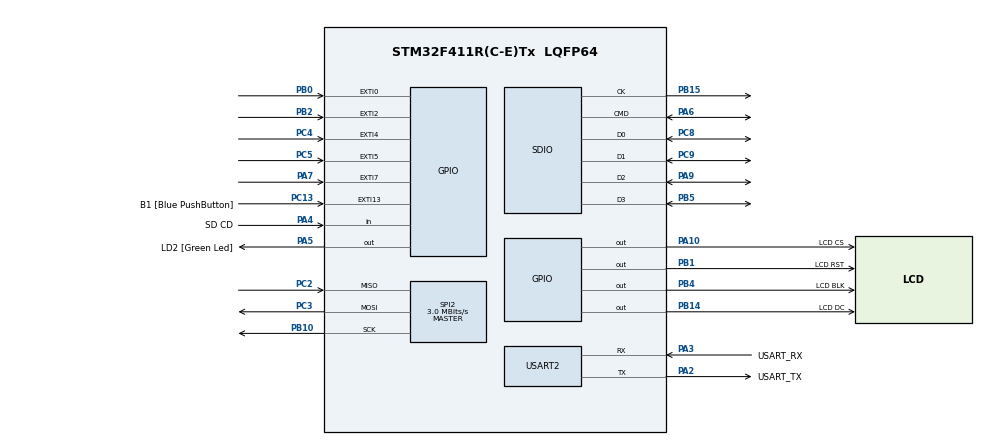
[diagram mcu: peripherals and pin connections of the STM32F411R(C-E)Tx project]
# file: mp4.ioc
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Dma.Request0=SDIO_RX
Dma.Request1=SDIO_TX
Dma.Request2=SPI2_TX
Dma.SDIO_RX.0.Direction=DMA_PERIPH_TO_MEMORY
Dma.SDIO_RX.0.FIFOMode=DMA_FIFOMODE_ENABLE
Dma.SDIO_RX.0.FIFOThreshold=DMA_FIFO_THRESHOLD_FULL
Dma.SDIO_RX.0.Instance=DMA2_Stream3
Dma.SDIO_RX.0.MemBurst=DMA_MBURST_INC4
Dma.SDIO_RX.0.MemDataAlignment=DMA_MDATAALIGN_WORD
Dma.SDIO_RX.0.MemInc=DMA_MINC_ENABLE
Dma.SDIO_RX.0.Mode=DMA_PFCTRL
Dma.SDIO_RX.0.PeriphBurst=DMA_PBURST_INC4
Dma.SDIO_RX.0.PeriphDataAlignment=DMA_PDATAALIGN_WORD
Dma.SDIO_RX.0.PeriphInc=DMA_PINC_DISABLE
Dma.SDIO_RX.0.Priority=DMA_PRIORITY_LOW
Dma.SDIO_TX.1.Direction=DMA_MEMORY_TO_PERIPH
Dma.SDIO_TX.1.FIFOMode=DMA_FIFOMODE_ENABLE
Dma.SDIO_TX.1.FIFOThreshold=DMA_FIFO_THRESHOLD_FULL
Dma.SDIO_TX.1.Instance=DMA2_Stream6
Dma.SDIO_TX.1.MemBurst=DMA_MBURST_INC4
Dma.SDIO_TX.1.MemDataAlignment=DMA_MDATAALIGN_WORD
Dma.SDIO_TX.1.MemInc=DMA_MINC_ENABLE
Dma.SDIO_TX.1.Mode=DMA_PFCTRL
Dma.SDIO_TX.1.PeriphBurst=DMA_PBURST_INC4
Dma.SDIO_TX.1.PeriphDataAlignment=DMA_PDATAALIGN_WORD
Dma.SDIO_TX.1.PeriphInc=DMA_PINC_DISABLE
Dma.SDIO_TX.1.Priority=DMA_PRIORITY_LOW
Dma.SPI2_TX.2.Direction=DMA_MEMORY_TO_PERIPH
Dma.SPI2_TX.2.FIFOMode=DMA_FIFOMODE_DISABLE
Dma.SPI2_TX.2.Instance=DMA1_Stream4
Dma.SPI2_TX.2.MemDataAlignment=DMA_MDATAALIGN_BYTE
Dma.SPI2_TX.2.MemInc=DMA_MINC_ENABLE
Dma.SPI2_TX.2.Mode=DMA_NORMAL
Dma.SPI2_TX.2.PeriphDataAlignment=DMA_PDATAALIGN_BYTE
Dma.SPI2_TX.2.PeriphInc=DMA_PINC_DISABLE
Dma.SPI2_TX.2.Priority=DMA_PRIORITY_HIGH
FATFS.BSP.number=1
FATFS.USE_DMA_CODE_SD=1
FATFS._CODE_PAGE=936
FATFS._FS_EXFAT=0
FATFS._FS_LOCK=4
FATFS._USE_LFN=3
FATFS0.BSP.STBoard=false
FATFS0.BSP.api=Unknown
FATFS0.BSP.instance=PA4
FATFS0.BSP.ip=GPIO
FATFS0.BSP.mode=Input
FATFS0.BSP.name=Detect_SDIO
FATFS0.BSP.solution=PA4
Mcu.Family=STM32F4
Mcu.Name=STM32F411R(C-E)Tx
Mcu.Package=LQFP64
NVIC.DMA1_Stream4_IRQn=true\:0\:1\:false\:false\:true\:false\:true\:true
NVIC.DMA2_Stream3_IRQn=true\:0\:3\:false\:false\:true\:false\:true\:true
NVIC.DMA2_Stream6_IRQn=true\:0\:3\:false\:false\:true\:false\:true\:true
NVIC.EXTI0_IRQn=true\:0\:1\:false\:false\:true\:true\:true\:true
NVIC.EXTI15_10_IRQn=true\:0\:1\:false\:false\:true\:true\:true\:true
NVIC.EXTI2_IRQn=true\:0\:1\:false\:false\:true\:true\:true\:true
NVIC.EXTI4_IRQn=true\:0\:1\:false\:false\:true\:true\:true\:true
NVIC.EXTI9_5_IRQn=true\:0\:1\:false\:false\:true\:true\:true\:true
NVIC.PriorityGroup=NVIC_PRIORITYGROUP_0
NVIC.SDIO_IRQn=true\:0\:2\:false\:false\:true\:true\:true\:true
NVIC.SPI2_IRQn=true\:0\:3\:false\:false\:true\:true\:true\:true
NVIC.TIM1_UP_TIM10_IRQn=true\:0\:1\:false\:false\:true\:true\:true\:true
NVIC.USART2_IRQn=true\:0\:1\:false\:false\:true\:true\:true\:true
PA10.GPIO_Label=LCD CS
PA10.Signal=GPIO_Output
PA13.GPIO_Label=TMS
PA13.Mode=Serial_Wire
PA13.Signal=SYS_JTMS-SWDIO
PA14.GPIO_Label=TCK
PA14.Mode=Serial_Wire
PA14.Signal=SYS_JTCK-SWCLK
PA2.GPIO_Label=USART_TX
PA2.Mode=Asynchronous
PA2.Signal=USART2_TX
PA3.GPIO_Label=USART_RX
PA3.Mode=Asynchronous
PA3.Signal=USART2_RX
PA4.GPIO_Label=SD CD
PA4.Signal=GPIO_Input
PA5.GPIO_Label=LD2 [Green Led]
PA5.Signal=GPIO_Output
PA6.GPIO_PuPd=GPIO_PULLUP
PA6.Mode=SD_4_bits_Wide_bus
PA6.Signal=SDIO_CMD
PA7.GPIO_ModeDefaultEXTI=GPIO_MODE_IT_RISING_FALLING
PA7.GPIO_PuPd=GPIO_PULLUP
PA7.Signal=GPXTI7
PA9.GPIO_PuPd=GPIO_PULLUP
PA9.Mode=SD_4_bits_Wide_bus
PA9.Signal=SDIO_D2
PB0.GPIO_ModeDefaultEXTI=GPIO_MODE_IT_RISING_FALLING
PB0.GPIO_PuPd=GPIO_PULLUP
PB0.Signal=GPXTI0
PB1.GPIO_Label=LCD RST
PB1.Signal=GPIO_Output
PB10.Mode=Full_Duplex_Master
PB10.Signal=SPI2_SCK
PB14.GPIO_Label=LCD DC
PB14.Signal=GPIO_Output
PB15.Mode=SD_4_bits_Wide_bus
PB15.Signal=SDIO_CK
PB2.GPIO_ModeDefaultEXTI=GPIO_MODE_IT_RISING_FALLING
PB2.GPIO_PuPd=GPIO_PULLUP
PB2.Signal=GPXTI2
PB3.GPIO_Label=SWO
PB3.Signal=SYS_JTDO-SWO
PB4.GPIO_Label=LCD BLK
PB4.Signal=GPIO_Output
PB5.GPIO_PuPd=GPIO_PULLUP
PB5.Mode=SD_4_bits_Wide_bus
PB5.Signal=SDIO_D3
PC13-ANTI_TAMP.GPIO_Label=B1 [Blue PushButton]
PC13-ANTI_TAMP.GPIO_ModeDefaultEXTI=GPIO_MODE_IT_RISING_FALLING
PC13-ANTI_TAMP.GPIO_PuPd=GPIO_PULLUP
PC13-ANTI_TAMP.Signal=GPXTI13
PC14-OSC32_IN.Mode=LSE-External-Oscillator
PC14-OSC32_IN.Signal=RCC_OSC32_IN
PC15-OSC32_OUT.Mode=LSE-External-Oscillator
PC15-OSC32_OUT.Signal=RCC_OSC32_OUT
PC2.Mode=Full_Duplex_Master
PC2.Signal=SPI2_MISO
PC3.Mode=Full_Duplex_Master
PC3.Signal=SPI2_MOSI
PC4.GPIO_ModeDefaultEXTI=GPIO_MODE_IT_RISING_FALLING
PC4.GPIO_PuPd=GPIO_PULLUP
PC4.Signal=GPXTI4
PC5.GPIO_ModeDefaultEXTI=GPIO_MODE_IT_RISING_FALLING
PC5.GPIO_PuPd=GPIO_PULLUP
PC5.Signal=GPXTI5
PC8.GPIO_PuPd=GPIO_PULLUP
PC8.Mode=SD_4_bits_Wide_bus
PC8.Signal=SDIO_D0
PC9.GPIO_PuPd=GPIO_PULLUP
PC9.Mode=SD_4_bits_Wide_bus
PC9.Signal=SDIO_D1
PH0\ -\ OSC_IN.Mode=HSE-External-Clock-Source
PH0\ -\ OSC_IN.Signal=RCC_OSC_IN
PH1\ -\ OSC_OUT.Mode=HSE-External-Clock-Source
PH1\ -\ OSC_OUT.Signal=RCC_OSC_OUT
ProjectManager.HeapSize=0x16000
ProjectManager.StackSize=0x2000
ProjectManager.TargetToolchain=CMake
RCC.48MHZClocksFreq_Value=48000000
RCC.AHBFreq_Value=96000000
RCC.APB1CLKDivider=RCC_HCLK_DIV2
RCC.APB1Freq_Value=48000000
RCC.APB1TimFreq_Value=96000000
RCC.APB2Freq_Value=96000000
RCC.APB2TimFreq_Value=96000000
RCC.CortexFreq_Value=96000000
RCC.FLatency-AdvancedSettings=FLASH_LATENCY_3
RCC.HCLKFreq_Value=96000000
RCC.HSE_VALUE=8000000
RCC.HSI_VALUE=16000000
RCC.PLLM=8
RCC.PLLN=96
RCC.SYSCLKFreq_VALUE=96000000
RCC.SYSCLKSource=RCC_SYSCLKSOURCE_PLLCLK
RCC.VCOOutputFreq_Value=192000000
RTC.SynchPrediv=249
SPI2.BaudRatePrescaler=SPI_BAUDRATEPRESCALER_16
SPI2.CLKPhase=SPI_PHASE_2EDGE
SPI2.CLKPolarity=SPI_POLARITY_HIGH
SPI2.CalculateBaudRate=3.0 MBits/s
SPI2.Direction=SPI_DIRECTION_2LINES
SPI2.Mode=SPI_MODE_MASTER
SPI2.VirtualType=VM_MASTER
TIM10.Period=10000-1
TIM10.Prescaler=96-1
USART2.VirtualMode=VM_ASYNC
VP_FATFS_VS_SDIO.Mode=SDIO
VP_RTC_VS_RTC_Activate.Mode=RTC_Enabled
VP_RTC_VS_RTC_Calendar.Mode=RTC_Calendar
VP_TIM10_VS_ClockSourceINT.Mode=Enable_Timer
board=NUCLEO-F411RE

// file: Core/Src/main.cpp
/* USER CODE BEGIN Header */
/**
  ******************************************************************************
  * @file           : main.c
  * @brief          : Main program body
  ******************************************************************************
  * @attention
  *
  * Copyright (c) 2026 STMicroelectronics.
  * All rights reserved.
  *
  * This software is licensed under terms that can be found in the LICENSE file
  * in the root directory of this software component.
  * If no LICENSE file comes with this software, it is provided AS-IS.
  *
  ******************************************************************************
  */
/* USER CODE END Header */
#include "main.h"
#include "dma.h"
#include "fatfs.h"
#include "rtc.h"
#include "sdio.h"
#include "spi.h"
#include "usart.h"
#include "gpio.h"
#include "tim.h"

/* USER CODE BEGIN Includes */
#include <cstdio>

#include "canvas.h"
#include "fs.h"
#include "st7735.h"
#include "unicode_render.h"
#include "pic_types.h"
#include "unicode_font_types.h"
#include "video_types.h"
#include "easy_menu.h"
/* USER CODE END Includes */

/* USER CODE BEGIN PV */
UnicodeFont global_font;
Canvas global_canvas(160, 128);

easy_menu::Render render = {
    [](const char* str, uint16_t x, uint16_t y, bool color_inversion, void* data) {
        auto canvas = static_cast<Canvas*>(data);
        if (!color_inversion) canvas->WriteUnicodeString(x, y, str, &global_font, ST7735_WHITE, ST7735_BLACK);
        else canvas->WriteUnicodeString(x, y, str, &global_font, ST7735_BLACK, ST7735_WHITE);
    },
    [](uint16_t x, uint16_t y, uint16_t w, uint16_t h, void* data) {
        static_cast<Canvas*>(data)->FillRectangle(x, y, w, h, ST7735_WHITE);
    },
    [](uint16_t x, uint16_t y, uint16_t w, uint16_t h, void* data) {
        static_cast<Canvas*>(data)->FillRectangle(x, y, w, h, ST7735_BLACK);
    },
    [](const char* str) {
        uint16_t w = UnicodeStringUTF8Length(str, &global_font);
        uint16_t h = global_font.GetDefaultHeight();
        return std::pair{w, h};
    },
    [](uint16_t x, uint16_t y, void* data) {
        static_cast<Canvas*>(data)->DrawCanvasDMA(x, y);
    },
    [](uint16_t x, uint16_t y, uint16_t w, uint16_t h, uint16_t x0, uint16_t y0, void* data) {
        static_cast<Canvas*>(data)->Copy(x, y, w, h, x0, y0);
    },
    HAL_GetTick,
    &global_canvas,
};

volatile easy_menu::InputEvent input = {false, false, false, false, false};
volatile bool return_home;

class ButtonStateMachine;

using ButtonCallback = void(*)(const volatile ButtonStateMachine& button);

class ButtonStateMachine {
public:
    enum State {
        IDLE,
        DEBOUNCE_PRESS,
        PRESSED,
        DEBOUNCE_RELEASE
    };

    volatile State state = IDLE;
    volatile uint8_t debounce_count = 0;
    volatile bool *click_down, *click_up;
    GPIO_TypeDef* GPIO_PORT;
    uint16_t GPIO_PIN;
    ButtonCallback click_callback;

    static constexpr uint8_t DEBOUNCE_TICKS = 2;

    void onInterrupt(bool pin_state) volatile {
        switch (state) {
        case IDLE:
            if (!pin_state) {
                state = DEBOUNCE_PRESS;
                debounce_count = 0;
            }
            break;
        case PRESSED:
            if (pin_state) {
                state = DEBOUNCE_RELEASE;
                debounce_count = 0;
            }
            break;
        default:
            break;
        }
    }

    void onTimerTick() volatile {
        switch (state) {
        case DEBOUNCE_PRESS:
            debounce_count++;
            if (debounce_count >= DEBOUNCE_TICKS) {
                bool pin_state = HAL_GPIO_ReadPin(GPIO_PORT, GPIO_PIN) == GPIO_PIN_SET;
                if (!pin_state) {
                    if (click_down) *click_down = true;
                    if (click_callback) click_callback(*this);
                    state = PRESSED;
                }
                else {
                    state = IDLE;
                }
            }
            break;
        case DEBOUNCE_RELEASE:
            debounce_count++;
            if (debounce_count >= DEBOUNCE_TICKS) {
                bool pin_state = HAL_GPIO_ReadPin(GPIO_PORT, GPIO_PIN) == GPIO_PIN_SET;
                if (pin_state) {
                    if (click_up) *click_up = true;
                    if (click_callback) click_callback(*this);
                    state = IDLE;
                }
                else {
                    state = PRESSED;
                }
            }
            break;
        default:
            break;
        }
    }

    ButtonStateMachine(GPIO_TypeDef* GPIO_PORT, uint16_t GPIO_PIN, volatile bool* click_down = nullptr,
                       volatile bool* click_up = nullptr,
                       ButtonCallback click_callback = nullptr) : click_down(click_down), click_up(click_up),
                                                                  GPIO_PORT(GPIO_PORT), GPIO_PIN(GPIO_PIN),
                                                                  click_callback(click_callback) {
    }
};

class ButtonManager {
    static volatile ButtonStateMachine* buttons_[8];
    static volatile size_t count_;

public:
    static void registerButton(volatile ButtonStateMachine* btn) {
        if (count_ < 8) {
            buttons_[count_++] = btn;
        }
    }

    static void onTimerTick() {
        for (size_t i = 0; i < count_; i++) {
            buttons_[i]->onTimerTick();
        }
    }
};

volatile ButtonStateMachine* ButtonManager::buttons_[8] = {nullptr};
volatile size_t ButtonManager::count_ = 0;
bool redraw = false;

volatile ButtonStateMachine b1_state(GPIOC, GPIO_PIN_13, &input.enter, nullptr,
                                     [](const volatile ButtonStateMachine& button) {
                                         printf("click_down: %s\r\n",
                                                *button.click_down ? "true" : "false");
                                     });
volatile ButtonStateMachine b_up_state(GPIOA, GPIO_PIN_7, &input.up, nullptr,
                                       [](const volatile ButtonStateMachine& button) {
                                           printf("up called up: %s\r\n", *button.click_down ? "true" : "false");
                                       });
volatile ButtonStateMachine b_down_state(GPIOC, GPIO_PIN_4, &input.down, nullptr,
                                         [](const volatile ButtonStateMachine& button) {
                                             printf("down called up: %s\r\n", *button.click_down ? "true" : "false");
                                         });
volatile ButtonStateMachine b_break_out_state(GPIOC, GPIO_PIN_5, &input.break_out, nullptr,
                                              [](const volatile ButtonStateMachine& button) {
                                                  printf("break_out called up: %s\r\n",
                                                         *button.click_down ? "true" : "false");
                                              });
volatile ButtonStateMachine b_return_home_state(GPIOB, GPIO_PIN_0, &return_home, nullptr,
                                                [](const volatile ButtonStateMachine& button) {
                                                    printf("return_home called up: %s\r\n",
                                                           *button.click_down ? "true" : "false");
                                                });
volatile ButtonStateMachine b_shift_state(GPIOB, GPIO_PIN_2, &input.shift, nullptr,
                                          [](const volatile ButtonStateMachine& button) {
                                              printf("shift called up: %s\r\n",
                                                     *button.click_down ? "true" : "false");
                                          });

struct ButtonRegistrar {
    ButtonRegistrar() {
        ButtonManager::registerButton(&b1_state);
        ButtonManager::registerButton(&b_up_state);
        ButtonManager::registerButton(&b_down_state);
        ButtonManager::registerButton(&b_break_out_state);
        ButtonManager::registerButton(&b_return_home_state);
        ButtonManager::registerButton(&b_shift_state);
    }
} button_registrar;

/* USER CODE END PV */

void SystemClock_Config();
void directory_enum_test();
void sd_speed_test(UnicodeFont& font);
void spi_speed_test();
void pic_display_test(UnicodeFont& font);
void video_play_test();
void video_test2();
void menu_test();
void canvas_test(UnicodeFont& font);
void file_callback(const easy_menu::MenuCell* sender, easy_menu::ClickType type, void* user_data);
void shift_callback(const easy_menu::MenuCell* sender, void* user_data);
void open_file(const char* gbk_path);
void file_manager(const char* current_path = "/", uint32_t start_index = 0);

/* USER CODE BEGIN 0 */

struct MemNode {
    MemNode* next;
    bool data[28];
};

uint32_t measure_free_heap(bool print = true) {
    MemNode* head = nullptr;
    MemNode* current = nullptr;
    uint32_t total_allocated = 0;
    uint32_t node_count = 0;

    while (true) {
        auto* node = static_cast<MemNode*>(malloc(sizeof(MemNode)));
        if (!node) {
            break;
        }
        node->next = nullptr;
        total_allocated += sizeof(MemNode);
        node_count++;

        if (head == nullptr) {
            head = node;
            current = node;
        }
        else {
            current->next = node;
            current = node;
        }
    }

    current = head;
    while (current) {
        MemNode* next = current->next;
        free(current);
        current = next;
    }

    if (print) printf("堆内存检测: 申请 %lu 个节点, 共 %lu 字节\r\n", node_count, total_allocated);
    return total_allocated;
}

/* USER CODE END 0 */

int main() {

    /* MCU Configuration--------------------------------------------------------*/

    /* Reset of all peripherals, Initializes the Flash interface and the Systick. */
    HAL_Init();

    /* USER CODE BEGIN Init */
    __HAL_RCC_PWR_CLK_ENABLE();
    HAL_PWR_EnableBkUpAccess();
    __HAL_RCC_LSI_ENABLE();
    uint32_t tickstart = HAL_GetTick();
    while (__HAL_RCC_GET_FLAG(RCC_FLAG_LSIRDY) == RESET) {
        if ((HAL_GetTick() - tickstart) > LSI_TIMEOUT_VALUE) {
            // 如果 LSI 超时都没起来，说明芯片 LSI 坏了或者电路问题
            Error_Handler();
        }
    }
    /* USER CODE END Init */

    /* USER CODE BEGIN SysInit */
    SystemClock_Config();
    printf("System clock configured!\r\n");
    /* USER CODE END SysInit */

    /* Initialize all configured peripherals */
    MX_GPIO_Init();
    MX_DMA_Init();
    MX_TIM10_Init();
    MX_RTC_Init();
    MX_SDIO_SD_Init();
    MX_SPI2_Init();
    MX_USART2_UART_Init();
    MX_FATFS_Init();
    /* USER CODE BEGIN 2 */
    HAL_TIM_Base_Start_IT(&htim10);
    HAL_SD_CardInfoTypeDef cardInfo;
    if (HAL_SD_GetCardInfo(&hsd, &cardInfo) == HAL_OK) {
        printf("Card Type: %lu (", cardInfo.CardType);
        switch (cardInfo.CardType) {
        case 0: printf("SDSC)\r\n");
            break;
        case 1: printf("SDHC)\r\n");
            break;
        case 2: printf("SDXC)\r\n");
            break;
        default: printf("Unknown)\r\n");
            break;
        }
        const uint64_t capacity_bytes = static_cast<uint64_t>(cardInfo.LogBlockNbr) * cardInfo.LogBlockSize;
        const uint32_t capacity_mb = capacity_bytes / (1024 * 1024);

        printf("SD Card: %lu MB\r\n", capacity_mb);
    }
    else {
        printf("Failed to get SD card info!\r\n");
    }

    FRESULT res = f_mount(&SDFatFS, SDPath, 1);
    if (res == FR_OK) {
        printf("SD Card mounted successfully!\r\n");
    }
    else {
        printf("Failed to mount SD card: %d\r\n", res);
    }

    // directory_enum_test();

    ST7735_Init();
    ST7735_FillScreenFast(ST7735_BLACK);
    HAL_GPIO_WritePin(LCD_BLK_GPIO_Port, LCD_BLK_Pin, GPIO_PIN_SET);
    uint8_t offset = 0;
    ST7735_WriteString(0, offset, "Hello World!", Font_7x10, ST7735_GREEN, ST7735_YELLOW);
    ST7735_WriteStringNoBg(0, offset += 11, "Hello World!", Font_7x10, ST7735_GREEN);

    // 大字体，超过了1000字符缓存限制，不会分配索引缓存
    auto& font = global_font;
    if (font.Load("/font/WenQuanDianZhenZhengHei-1_12x12.ufnt")) {
        printf("字体large加载成功！\r\n");
        ST7735_Select();
        WriteUnicodeStringUTF8DMA(0, offset += font.GetDefaultHeight() + 1, "你好，世界！", &font, ST7735_GREEN,
                                  ST7735_YELLOW);
        WriteUnicodeStringUTF8NoBgDMA(0, offset += font.GetDefaultHeight() + 1, "你好，世界！", &font, ST7735_GREEN);
    }
    else {
        printf("字体large加载失败！\r\n");
    }

    measure_free_heap();
    HAL_Delay(3000);

    // sd_speed_test(font);
    // spi_speed_test();
    // pic_display_test(font);
    // measure_free_heap();
    // video_play_test();
    // video_test2();
    // measure_free_heap();
    // canvas_test(global_font);
    // measure_free_heap();
    // menu_test();
    // measure_free_heap();
    ST7735_FillScreenFast(ST7735_BLACK);
    /* USER CODE END 2 */

    /* Infinite loop */
    /* USER CODE BEGIN WHILE */
    easy_menu::StaticMenu root(2, "MP4播放器", 0, 0, 160, 128);
    root.add_menu("设置", [](const easy_menu::MenuCell* sender, easy_menu::ClickType type, void* userdata) {
        ST7735_FillScreenFast(ST7735_BLACK);
        WriteUnicodeStringUTF8DMA(0, 0, "暂不支持此功能", &global_font, ST7735_GREEN, ST7735_BLACK);
        while (!input.break_out and !return_home);
        input.break_out = false;
    });
    root.add_menu("文件浏览", [](const easy_menu::MenuCell* sender, easy_menu::ClickType type, void* userdata) {
        file_manager();
    });
    easy_menu::MenuState state;
    while (true) {
        /* USER CODE END WHILE */
        easy_menu::flush_menu(root, input, render, state);
        if (redraw) {
            root.force_redraw();
            redraw = false;
            printf("redraw\r\n");
        }
        if (return_home) {
            return_home = false;
            root.set_to_home();
        }
        /* USER CODE BEGIN 3 */
        HAL_GPIO_TogglePin(GPIOA, GPIO_PIN_5);
    }
    /* USER CODE END 3 */
}

void SystemClock_Config() {
    RCC_OscInitTypeDef RCC_OscInitStruct = {0};
    RCC_ClkInitTypeDef RCC_ClkInitStruct = {0};

    /** Configure the main internal regulator output voltage
    */
    __HAL_RCC_PWR_CLK_ENABLE();
    __HAL_PWR_VOLTAGESCALING_CONFIG(PWR_REGULATOR_VOLTAGE_SCALE1);

    /** Initializes the RCC Oscillators according to the specified parameters
    * in the RCC_OscInitTypeDef structure.
    */
    RCC_OscInitStruct.OscillatorType = RCC_OSCILLATORTYPE_HSI | RCC_OSCILLATORTYPE_LSI;
    RCC_OscInitStruct.HSIState = RCC_HSI_ON;
    RCC_OscInitStruct.HSICalibrationValue = RCC_HSICALIBRATION_DEFAULT;
    RCC_OscInitStruct.LSIState = RCC_LSI_ON;
    RCC_OscInitStruct.PLL.PLLState = RCC_PLL_ON;
    RCC_OscInitStruct.PLL.PLLSource = RCC_PLLSOURCE_HSI;
    RCC_OscInitStruct.PLL.PLLM = 8;
    RCC_OscInitStruct.PLL.PLLN = 96;
    RCC_OscInitStruct.PLL.PLLP = RCC_PLLP_DIV2;
    RCC_OscInitStruct.PLL.PLLQ = 4;
    if (HAL_RCC_OscConfig(&RCC_OscInitStruct) != HAL_OK) {
        Error_Handler();
    }

    /** Initializes the CPU, AHB and APB buses clocks
    */
    RCC_ClkInitStruct.ClockType = RCC_CLOCKTYPE_HCLK | RCC_CLOCKTYPE_SYSCLK
        | RCC_CLOCKTYPE_PCLK1 | RCC_CLOCKTYPE_PCLK2;
    RCC_ClkInitStruct.SYSCLKSource = RCC_SYSCLKSOURCE_PLLCLK;
    RCC_ClkInitStruct.AHBCLKDivider = RCC_SYSCLK_DIV1;
    RCC_ClkInitStruct.APB1CLKDivider = RCC_HCLK_DIV2;
    RCC_ClkInitStruct.APB2CLKDivider = RCC_HCLK_DIV1;

    if (HAL_RCC_ClockConfig(&RCC_ClkInitStruct, FLASH_LATENCY_3) != HAL_OK) {
        Error_Handler();
    }
}

/* USER CODE BEGIN 4 */
extern "C" void HAL_GPIO_EXTI_Callback(uint16_t GPIO_Pin) {
    if (GPIO_Pin == B1_Pin) {
        bool pin_state = HAL_GPIO_ReadPin(B1_GPIO_Port, B1_Pin) == GPIO_PIN_SET;
        b1_state.onInterrupt(pin_state);
    }
    else if (GPIO_Pin == GPIO_PIN_7) {
        bool pin_state = HAL_GPIO_ReadPin(GPIOA, GPIO_PIN_7) == GPIO_PIN_SET;
        b_up_state.onInterrupt(pin_state);
    }
    else if (GPIO_Pin == GPIO_PIN_4) {
        bool pin_state = HAL_GPIO_ReadPin(GPIOC, GPIO_PIN_4) == GPIO_PIN_SET;
        b_down_state.onInterrupt(pin_state);
    }
    else if (GPIO_Pin == GPIO_PIN_5) {
        bool pin_state = HAL_GPIO_ReadPin(GPIOC, GPIO_PIN_5) == GPIO_PIN_SET;
        b_break_out_state.onInterrupt(pin_state);
    }
    else if (GPIO_Pin == GPIO_PIN_0) {
        bool pin_state = HAL_GPIO_ReadPin(GPIOB, GPIO_PIN_0) == GPIO_PIN_SET;
        b_return_home_state.onInterrupt(pin_state);
    }
    else if (GPIO_Pin == GPIO_PIN_2) {
        bool pin_state = HAL_GPIO_ReadPin(GPIOB, GPIO_PIN_2) == GPIO_PIN_SET;
        b_shift_state.onInterrupt(pin_state);
    }
}

extern "C" void HAL_TIM_PeriodElapsedCallback(TIM_HandleTypeDef* htim) {
    if (htim->Instance == TIM10) {
        ButtonManager::onTimerTick();
    }
}

extern "C" int __io_putchar(int ch) {
    HAL_UART_Transmit(&huart2, reinterpret_cast<uint8_t*>(&ch), 1, HAL_MAX_DELAY);
    return ch;
}

extern "C" int __io_getchar(void) {
    uint8_t ch;
    HAL_UART_Receive(&huart2, &ch, 1, HAL_MAX_DELAY);
    HAL_UART_Transmit(&huart2, &ch, 1, HAL_MAX_DELAY);
    return ch;
}

extern "C" int fputc(int ch, FILE* f) {
    (void)f;
    return __io_putchar(ch);
}

extern "C" int _read(int file, char* ptr, int len) {
    (void)file; // 避免未使用参数的警告
    if (len == 0) {
        return 0;
    }

    // 调用我们已有的 __io_getchar 来获取一个字符
    int ch = __io_getchar();

    // 如果读到有效字符
    if (ch >= 0) {
        *ptr = static_cast<char>(ch);
        return 1; // 返回成功读取了1个字节
    }

    // 否则返回错误
    return -1;
}

void directory_enum(const char* path) {
    printf("枚举%s\r\n", path);
    for (auto&& obj : fs::listdir(path, false)) {
        char gbk_path[256];
        snprintf(gbk_path, sizeof(gbk_path), "%s/%s", path, obj.name);
        char unicode_path[256];
        fs::gbk_to_utf8(gbk_path, unicode_path, sizeof(unicode_path));
        if (obj.type == fs::dir) {
            printf("[DIR]  %s\r\n", unicode_path);
        }
        else {
            printf("[FILE] %s\t\t", unicode_path);
            FIL f;
            FRESULT res = f_open(&f, gbk_path, FA_READ);
            if (res == FR_OK) {
                FSIZE_t size = f_size(&f);
                printf("%lu\r\n", static_cast<unsigned long>(size));
                f_close(&f);
            }
            else {
                printf("打开失败: %d\r\n", res);
            }
        }
    }
}

void directory_enum_test() {
    directory_enum("/");
    directory_enum("/font");
    directory_enum("/pic");
    directory_enum("/video");
}

void sd_speed_test(UnicodeFont& font) {
    printf("\r\n=== SD卡读写速度测试 ===\r\n");
    ST7735_FillScreenFast(ST7735_BLACK);
    int offset = -font.GetDefaultHeight();
    WriteUnicodeStringUTF8NoBgDMA(0, offset += font.GetDefaultHeight() + 1, "正在进行SD卡读写速度测试", &font, ST7735_GREEN);

    static uint8_t buffer[4096];
    for (uint16_t i = 0; i < sizeof(buffer); i++) {
        buffer[i] = static_cast<uint8_t>(i & 0xFF);
    }

    constexpr uint32_t test_size = 16 * 1024 * 1024;
    const auto test_file = "/speedtest.bin";

    printf("测试文件大小: %lu KB\r\n", test_size / 1024);

    printf("\r\n--- 写入测试 ---\r\n");
    FIL f;
    FRESULT res = f_open(&f, test_file, FA_WRITE | FA_CREATE_ALWAYS);
    if (res != FR_OK) {
        printf("创建文件失败: %d\r\n", res);
        return;
    }

    UINT bytes_written;
    uint32_t total_written = 0;
    uint32_t start_tick = HAL_GetTick();

    while (total_written < test_size) {
        res = f_write(&f, buffer, sizeof(buffer), &bytes_written);
        if (res != FR_OK || bytes_written == 0) {
            printf("写入错误: %d\r\n", res);
            break;
        }
        total_written += bytes_written;
    }

    f_sync(&f);
    uint32_t write_elapsed_ms = HAL_GetTick() - start_tick;
    f_close(&f);

    char s1[64], s2[64];
    snprintf(s1, sizeof(s1), "写入完成: %lu 字节", total_written);
    snprintf(s2, sizeof(s2), "写入耗时: %lu ms", write_elapsed_ms);
    printf("%s\r\n%s\r\n", s1, s2);
    WriteUnicodeStringUTF8NoBgDMA(0, offset += font.GetDefaultHeight() + 1, s1, &font, ST7735_GREEN);
    WriteUnicodeStringUTF8NoBgDMA(0, offset += font.GetDefaultHeight() + 1, s2, &font, ST7735_GREEN);
    if (write_elapsed_ms > 0) {
        uint32_t write_speed = total_written / write_elapsed_ms;
        snprintf(s1, sizeof(s1), "写入速度: %lu KB/s", write_speed);
        printf("%s\r\n", s1);
        WriteUnicodeStringUTF8NoBgDMA(0, offset += font.GetDefaultHeight() + 1, s1, &font, ST7735_GREEN);
    }

    printf("\r\n--- 读取测试 ---\r\n");
    res = f_open(&f, test_file, FA_READ);
    if (res != FR_OK) {
        printf("打开文件失败: %d\r\n", res);
        return;
    }

    UINT bytes_read;
    uint32_t total_read = 0;
    start_tick = HAL_GetTick();

    while (total_read < test_size) {
        res = f_read(&f, buffer, sizeof(buffer), &bytes_read);
        if (res != FR_OK || bytes_read == 0) {
            printf("读取错误: %d\r\n", res);
            break;
        }
        total_read += bytes_read;
    }

    uint32_t read_elapsed_ms = HAL_GetTick() - start_tick;
    f_close(&f);

    snprintf(s1, sizeof(s1), "读取完成: %lu 字节", total_read);
    snprintf(s2, sizeof(s2), "读取耗时: %lu ms", read_elapsed_ms);
    printf("%s\r\n%s\r\n", s1, s2);
    WriteUnicodeStringUTF8NoBgDMA(0, offset += font.GetDefaultHeight() + 1, s1, &font, ST7735_GREEN);
    WriteUnicodeStringUTF8NoBgDMA(0, offset += font.GetDefaultHeight() + 1, s2, &font, ST7735_GREEN);
    if (read_elapsed_ms > 0) {
        uint32_t read_speed = total_read / read_elapsed_ms;
        snprintf(s1, sizeof(s1), "读取速度: %lu KB/s", read_speed);
        printf("%s\r\n", s1);
        WriteUnicodeStringUTF8NoBgDMA(0, offset += font.GetDefaultHeight() + 1, s1, &font, ST7735_GREEN);
    }

    printf("\r\n--- 数据校验 ---\r\n");
    res = f_open(&f, test_file, FA_READ);
    if (res == FR_OK) {
        bool verify_ok = true;
        uint32_t verify_pos = 0;
        while (verify_pos < test_size) {
            res = f_read(&f, buffer, sizeof(buffer), &bytes_read);
            if (res != FR_OK || bytes_read == 0) break;

            for (UINT i = 0; i < bytes_read; i++) {
                auto expected = static_cast<uint8_t>((verify_pos + i) & 0xFF);
                if (buffer[i] != expected) {
                    printf("校验失败 @偏移 %lu: 期望 0x%02X, 实际 0x%02X\r\n",
                           verify_pos + i, expected, buffer[i]);
                    verify_ok = false;
                    break;
                }
            }
            verify_pos += bytes_read;
            if (!verify_ok) break;
        }
        f_close(&f);
        printf("数据校验: %s\r\n", verify_ok ? "通过" : "失败");
    }

    printf("\r\n--- 清理测试文件 ---\r\n");
    res = f_unlink(test_file);
    printf("删除测试文件: %s\r\n", res == FR_OK ? "成功" : "失败");

    printf("\r\n=== 测试完成 ===\r\n\r\n");
    HAL_Delay(1000);
}

void spi_speed_test() {
    printf("\r\n=== SPI 速度测试 ===\r\n");

    uint16_t color_list[] = {ST7735_RED, ST7735_GREEN, ST7735_BLUE, ST7735_YELLOW};
    constexpr int test_frames = 100;

    struct {
        uint32_t prescaler;
        const char* name;
        uint32_t freq_khz;
    } speeds[] = {
        // {SPI_BAUDRATEPRESCALER_256, "256", 187},
        // {SPI_BAUDRATEPRESCALER_128, "128", 375},
        // {SPI_BAUDRATEPRESCALER_64,  "64",  750},
        // {SPI_BAUDRATEPRESCALER_32,  "32",  1500},
        //{SPI_BAUDRATEPRESCALER_16,  "16",  3000},
        {SPI_BAUDRATEPRESCALER_8, "8", 6000},
        {SPI_BAUDRATEPRESCALER_4, "4", 12000},
        {SPI_BAUDRATEPRESCALER_2, "2", 24000},
    };

    for (const auto& [prescaler, name, freq_khz] : speeds) {
        printf("\r\n--- SPI 分频 %s (%lu kHz) ---\r\n", name, freq_khz);

        MODIFY_REG(hspi2.Instance->CR1, SPI_CR1_BR, prescaler);
        HAL_Delay(10);

        ST7735_FillScreenFast(ST7735_BLACK);
        HAL_Delay(10);

        uint32_t start_tick = HAL_GetTick();
        for (int i = 0; i < test_frames; i++) {
            ST7735_FillScreenFast(color_list[i % 4]);
        }
        uint32_t elapsed = HAL_GetTick() - start_tick;

        double fps = test_frames * 1000.0 / elapsed;
        double kbps = test_frames * 40.96 / elapsed * 1000;

        printf("刷屏 %d 次, 耗时 %lu ms\r\n", test_frames, elapsed);
        printf("帧率: %.2f fps, 带宽: %.0f KB/s\r\n", fps, kbps);

        HAL_Delay(500);
    }

    MODIFY_REG(hspi2.Instance->CR1, SPI_CR1_BR, SPI_BAUDRATEPRESCALER_2);
    printf("\r\n=== 测试完成，已恢复最高速度 ===\r\n\r\n");
}

void pic_display_test(UnicodeFont& font) {
    // const char s1[] = "静态加载展示";
    constexpr char s2[] = "动态加载展示";

    // ST7735_DrawImage(0, 0, 160, 128, *xilian);
    // WriteUnicodeStringUTF8DMA((160 - UnicodeStringUTF8Length(s1, &font)) / 2, 100, s1, &font, ST7735_GREEN, ST7735_BLACK);
    // HAL_Delay(3000);

    // 测试：从SD卡动态加载并显示图片
    ST7735_FillScreenFast(ST7735_BLACK);
    int offset = 80 - font.GetDefaultHeight();
    auto tick = HAL_GetTick();
    DynamicImage image("/pic/cyrene.bmp");
    if (image.IsLoaded()) {
        printf("正常加载bmp耗时 %lu tick\r\n", HAL_GetTick() - tick);
        tick = HAL_GetTick();
        image.DisplayDMA(0, 0);
        printf("正常显示bmp耗时 %lu tick\r\n", HAL_GetTick() - tick);
        // measure_free_heap();
        char title[] = "昔涟";
        WriteUnicodeStringUTF8DMA((160 - UnicodeStringUTF8Length(s2, &font)) / 2, offset += font.GetDefaultHeight() + 1,
                                  s2, &font, ST7735_GREEN, ST7735_BLACK);
        WriteUnicodeStringUTF8DMA((160 - UnicodeStringUTF8Length(title, &font)) / 2,
                                  offset += font.GetDefaultHeight() + 1, title, &font, ST7735_GREEN, ST7735_BLACK);
    }
    else {
        printf("图片cyrene.bmp显示失败%s\r\n", image.GetErrorString());
    }

    HAL_Delay(3000);

    ST7735_FillScreenFast(ST7735_BLACK);
    offset = 80 - font.GetDefaultHeight();
    tick = HAL_GetTick();
    auto rst = PIC_DisplayStreamingDMA("/pic/evernight.bmp", 0, 0, 0, 0, 160, 128);
    printf("流式显示bmp耗时 %lu tick\r\n", HAL_GetTick() - tick);
    // measure_free_heap();
    if (rst == PIC_SUCCESS) {
        char title[] = "长夜月";
        WriteUnicodeStringUTF8DMA((160 - UnicodeStringUTF8Length(s2, &font)) / 2, offset += font.GetDefaultHeight() + 1,
                                  s2, &font, ST7735_GREEN, ST7735_BLACK);
        WriteUnicodeStringUTF8DMA((160 - UnicodeStringUTF8Length(title, &font)) / 2,
                                  offset += font.GetDefaultHeight() + 1, title, &font, ST7735_GREEN, ST7735_BLACK);
    }
    else {
        printf("图片evernight.bmp显示失败：%s\r\n", image.GetErrorString());
    }

    HAL_Delay(3000);

    ST7735_FillScreenFast(ST7735_BLACK);
    offset = 80 - font.GetDefaultHeight();
    tick = HAL_GetTick();
    if (image.LoadFromSD("/pic/castorice.jpg")) {
        printf("正常加载jpg耗时 %lu tick\r\n", HAL_GetTick() - tick);
        tick = HAL_GetTick();
        image.DisplayDMA(0, 0);
        printf("正常显示jpg耗时 %lu tick\r\n", HAL_GetTick() - tick);
        printf("峰值内存检测：");
        measure_free_heap();
        char title[] = "遐蝶";
        WriteUnicodeStringUTF8DMA((160 - UnicodeStringUTF8Length(s2, &font)) / 2, offset += font.GetDefaultHeight() + 1,
                                  s2, &font, ST7735_GREEN, ST7735_BLACK);
        WriteUnicodeStringUTF8DMA((160 - UnicodeStringUTF8Length(title, &font)) / 2,
                                  offset += font.GetDefaultHeight() + 1, title, &font, ST7735_GREEN, ST7735_BLACK);
    }
    else {
        printf("图片castorice.jpg显示失败：%s\r\n", image.GetErrorString());
    }

    HAL_Delay(3000);

    ST7735_FillScreenFast(ST7735_BLACK);
    offset = 80 - font.GetDefaultHeight();
    tick = HAL_GetTick();
    rst = PIC_DisplayStreamingDMA("/pic/hyacine.jpg", 0, 0, 0, 0, 160, 128);
    printf("流式显示jpg耗时 %lu tick\r\n", HAL_GetTick() - tick);
    // measure_free_heap();
    if (rst == PIC_SUCCESS) {
        char title[] = "风瑾";
        WriteUnicodeStringUTF8DMA((160 - UnicodeStringUTF8Length(s2, &font)) / 2, offset += font.GetDefaultHeight() + 1,
                                  s2, &font, ST7735_GREEN, ST7735_BLACK);
        WriteUnicodeStringUTF8DMA((160 - UnicodeStringUTF8Length(title, &font)) / 2,
                                  offset += font.GetDefaultHeight() + 1, title, &font, ST7735_GREEN, ST7735_BLACK);
    }
    else {
        printf("图片hyacine.jpg显示失败：%s\r\n", PIC_GetErrorString(rst));
    }

    HAL_Delay(3000);

    ST7735_FillScreenFast(ST7735_BLACK);
    offset = 80 - font.GetDefaultHeight();
    tick = HAL_GetTick();
    char xilian_path[64];
    fs::utf8_to_gbk("/pic/昔涟.jpg", xilian_path, sizeof(xilian_path));
    rst = PIC_DisplayStreamingDMA(xilian_path, 0, 0, 0, 0, 160, 128);
    printf("流式显示jpg耗时 %lu tick\r\n", HAL_GetTick() - tick);
    // measure_free_heap();
    if (rst == PIC_SUCCESS) {
        char title[] = "昔涟";
        WriteUnicodeStringUTF8DMA((160 - UnicodeStringUTF8Length(s2, &font)) / 2, offset += font.GetDefaultHeight() + 1,
                                  s2, &font, ST7735_GREEN, ST7735_BLACK);
        WriteUnicodeStringUTF8DMA((160 - UnicodeStringUTF8Length(title, &font)) / 2,
                                  offset += font.GetDefaultHeight() + 1, title, &font, ST7735_GREEN, ST7735_BLACK);
    }
    else {
        printf("图片昔涟.jpg显示失败：%s\r\n", PIC_GetErrorString(rst));
    }

    HAL_Delay(3000);
}

void print_video_info(const VideoPlayer& player) {
    VideoInfo info;
    if (!player.GetInfo(&info)) {
        printf("信息获取错误: %s\r\n", player.GetErrorString());
        return;
    }
    printf("视频大小: %dx%d\r\n", info.width, info.height);
    printf("帧率: %d\r\n", info.fps);
    printf("帧数: %lu\r\n", info.total_frames);
    printf("时长: %lu ms\r\n", info.duration_ms);
    printf("格式: ");
    switch (info.format) {
    case VIDEO_FORMAT_UNKNOWN:
        printf("未知");
        break;
    case VIDEO_FORMAT_MJPEG:
        printf("MJPEG");
        break;
    case VIDEO_FORMAT_RAW_RGB565:
        printf("RGB565");
        break;
    case VIDEO_FORMAT_RAW_RGB565_LE:
        printf("RGB565-LE");
        break;
    case VIDEO_FORMAT_RAW_RGB565_BE:
        printf("RGB565-BE");
        break;
    case VIDEO_FORMAT_RAW_RGB888:
        printf("RGB888");
        break;
    }
    printf("\r\n");
    // printf("大小: %lu bytes\r\n", info.file_size);
}

void print_video_display_info(const VideoPlayer& player) {
    printf("渲染帧数: %lu\r\n", player.GetFramesRendered());
    printf("跳帧数: %lu\r\n", player.GetFramesSkipped());
    printf("平均帧率: %.2f fps\r\n", player.GetAverageFps());
}

void video_play_test() {
    VideoPlayer player;
    uint32_t start_tick;

    // player = VideoPlayer("/video/bad apple(mjpg).avi");
    // print_video_info(player);
    // start_tick = HAL_GetTick();
    // if (!player.Play(0, 0)) {
    //     printf("播放错误: %s\r\n", player.GetErrorString());
    // }
    // printf("播放用时 %lu ms\r\n", HAL_GetTick() - start_tick);
    // print_video_display_info(player);

    for (auto&& obj : fs::listdir("/video", false)) {
        if (obj.type == fs::file) {
            if (!fs::suffix_matches(obj.name, ".avi")) {
                continue;
            }
            char full_path[64];
            snprintf(full_path, sizeof(full_path), "/video/%s", obj.name);
            char unicode_path[64];
            fs::gbk_to_utf8(full_path, unicode_path, sizeof(unicode_path));
            printf("即将播放%s\r\n", unicode_path);
            player = VideoPlayer(full_path);
            print_video_info(player);
            VideoInfo info;
            player.GetInfo(&info);
            auto width = info.width, height = info.height;
            ST7735_FillScreenFast(ST7735_BLACK);
            start_tick = HAL_GetTick();
            if (!player.Play((160 - width) / 2, (128 - height) / 2)) {
                printf("播放错误: %s\r\n", player.GetErrorString());
            }
            printf("播放用时 %lu ms\r\n", HAL_GetTick() - start_tick);
            print_video_display_info(player);
        }
    }
}

void video_test2() {
    VideoPlayer player = VideoPlayer("/video/bad apple(mjpg).avi");
    print_video_info(player);
    uint32_t start_tick = HAL_GetTick();
    player.Play(0, 0, VIDEO_PLAY_MODE_POLLING);
    while (player.GetState() == VIDEO_STATE_PLAYING) {
        bool err = player.Poll();
        if (!err) {
            printf("播放错误: %s\r\n", VIDEO_GetErrorString(VIDEO_GetLastError()));
            break;
        }
    }
    printf("播放用时 %lu ms\r\n", HAL_GetTick() - start_tick);
    print_video_display_info(player);
}

void menu_test() {
    using namespace easy_menu;
    ST7735_FillScreenFast(ST7735_YELLOW);
    global_canvas.FillCanvas(ST7735_BLACK);
    printf("menu test\r\n");
    DynamicMenu root("标题", 0, 0, 160, 128);
    root.add_menu("选项1", [](const MenuCell* cell, ClickType click, void* data) {
        printf("点击了选项1, 点击类型: %s\r\n", click == ENTER ? "ENTER" : "SHIFT");
    });
    auto submenu = new StaticMenu(1, "这是子菜单", 0, 0, 160, 128);
    submenu->add_menu("子菜单选项1", [](const MenuCell* cell, ClickType click, void* data) {
        printf("点击了子菜单选项1, 点击类型: %s\r\n", click == ENTER ? "ENTER" : "SHIFT");
    });
    root.add_menu("选项2", submenu);
    root.add_menu("选项3", [](const MenuCell* cell, ClickType click, void* data) {
        printf("点击了选项3, 点击类型: %s\r\n", click == ENTER ? "ENTER" : "SHIFT");
    });
    root.add_menu("选项4", [](const MenuCell* cell, ClickType click, void* data) {
        printf("点击了选项4, 点击类型: %s\r\n", click == ENTER ? "ENTER" : "SHIFT");
    });
    root.add_menu("选项5", [](const MenuCell* cell, ClickType click, void* data) {
        printf("点击了选项5, 点击类型: %s\r\n", click == ENTER ? "ENTER" : "SHIFT");
    });
    root.add_menu("选项6", [](const MenuCell* cell, ClickType click, void* data) {
        printf("点击了选项6, 点击类型: %s\r\n", click == ENTER ? "ENTER" : "SHIFT");
    });
    root.add_menu("选项7", [](const MenuCell* cell, ClickType click, void* data) {
        printf("点击了选项7, 点击类型: %s\r\n", click == ENTER ? "ENTER" : "SHIFT");
    });
    root.add_menu("选项8", [](const MenuCell* cell, ClickType click, void* data) {
        printf("点击了选项8, 点击类型: %s\r\n", click == ENTER ? "ENTER" : "SHIFT");
    });
    root.add_menu("选项9", [](const MenuCell* cell, ClickType click, void* data) {
        printf("点击了选项9, 点击类型: %s\r\n", click == ENTER ? "ENTER" : "SHIFT");
    });
    root.add_menu("选项10", [](const MenuCell* cell, ClickType click, void* data) {
        printf("点击了选项10, 点击类型: %s\r\n", click == ENTER ? "ENTER" : "SHIFT");
    });
    root.add_menu("选项11", [](const MenuCell* cell, ClickType click, void* data) {
        printf("点击了选项11, 点击类型: %s\r\n", click == ENTER ? "ENTER" : "SHIFT");
    });
    root.add_menu("选项12", [](const MenuCell* cell, ClickType click, void* data) {
        printf("点击了选项12, 点击类型: %s\r\n", click == ENTER ? "ENTER" : "SHIFT");
    });
    root.add_menu("选项13", [](const MenuCell* cell, ClickType click, void* data) {
        printf("点击了选项13, 点击类型: %s\r\n", click == ENTER ? "ENTER" : "SHIFT");
    });
    root.add_menu("选项14", [](const MenuCell* cell, ClickType click, void* data) {
        printf("点击了选项14, 点击类型: %s\r\n", click == ENTER ? "ENTER" : "SHIFT");
    });

    bool breakout = false;
    MenuState menu_state;
    root.add_menu("退出菜单测试", [](const MenuCell* cell, ClickType click, void* data) { *static_cast<bool*>(data) = true; },
                  &breakout);
    while (!breakout) {
        auto start = HAL_GetTick();
        if (!flush_menu(root, input, render, menu_state)) breakout = true;
        if (return_home) {
            return_home = false;
            root.set_to_home();
        }
        printf("渲染菜单帧耗时 %lu ms\r\n", HAL_GetTick() - start);
    }
    printf("已退出根菜单\r\n");
}

void canvas_test(UnicodeFont& font) {
    // printf("canvas创建前");
    // measure_free_heap();
    // Canvas canvas(160, 128);
    // printf("canvas创建后");
    // measure_free_heap();
    Canvas& canvas = global_canvas;
    canvas.FillCanvas(ST7735_WHITE);
    uint32_t start_tick = HAL_GetTick();
    canvas.DrawCanvasDMA();
    printf("DMA传输耗时 %lu ms\r\n", HAL_GetTick() - start_tick);
    HAL_Delay(1000);
    canvas.Line(0, 0, 160, 128, ST7735_YELLOW);
    canvas.DrawCanvasDMA();
    HAL_Delay(1000);

    {
        DynamicImage image("/pic/cyrene.bmp");
        measure_free_heap();
        start_tick = HAL_GetTick();
        canvas.DrawImage(image, 138, 110, 70, 47, 22, 18);
        printf("绘制图片耗时 %lu ms\r\n", HAL_GetTick() - start_tick);
    }
    measure_free_heap();
    canvas.DrawCanvasDMA();
    HAL_Delay(1000);

    start_tick = HAL_GetTick();
    int offset = 60 - font.GetDefaultHeight() - 1;
    canvas.WriteUnicodeString(0, offset += font.GetDefaultHeight() + 1, "12345", &font, ST7735_GREEN, ST7735_BLACK);
    canvas.WriteUnicodeString(0, offset += font.GetDefaultHeight() + 1, "ABCDE", &font, ST7735_GREEN);
    canvas.WriteUnicodeString(0, offset += font.GetDefaultHeight() + 1, "abcde", &font, ST7735_GREEN, ST7735_BLACK);
    canvas.WriteUnicodeString(0, offset += font.GetDefaultHeight() + 1, "「你好，世界♪」", &font, ST7735_GREEN, ST7735_YELLOW);
    printf("绘制文本耗时 %lu ms\r\n", HAL_GetTick() - start_tick);
    canvas.DrawCanvasDMA();
    measure_free_heap();
    HAL_Delay(2000);

    start_tick = HAL_GetTick();
    canvas.FillCircle(10, 10, 7, ST7735_RED);
    canvas.HollowCircle(10, 30, 7, ST7735_RED);
    canvas.FillRectangle(20, 0, 10, 10, ST7735_YELLOW);
    canvas.HollowRectangle(20, 20, 10, 10, ST7735_YELLOW);
    canvas.HollowRectangle(40, 0, 10, 10, ST7735_YELLOW);
    canvas.HollowRectangle(40, 20, 10, 10, ST7735_YELLOW);
    canvas.FillTriangle(40, 0, 45, 10, 50, 5, ST7735_BLUE);
    canvas.HollowTriangle(40, 20, 45, 30, 50, 25, ST7735_BLUE);
    canvas.HollowRectangle(60, 2, 10, 16, ST7735_YELLOW);
    canvas.HollowRectangle(60, 22, 10, 16, ST7735_YELLOW);
    canvas.FillEllipse(65, 10, 5, 8, ST7735_GREEN);
    canvas.HollowEllipse(65, 30, 5, 8, ST7735_GREEN);
    printf("绘制图形耗时 %lu ms\r\n", HAL_GetTick() - start_tick);
    canvas.DrawCanvasDMA();
    measure_free_heap();
    HAL_Delay(2000);

    start_tick = HAL_GetTick();
    canvas.Copy(0, 0, 80, 60, 80, 0);
    printf("复制耗时 %lu ms\r\n", HAL_GetTick() - start_tick);
    canvas.DrawCanvasDMA();
    measure_free_heap();
    HAL_Delay(2000);

    canvas.Copy(0, 20, 80, 60, 0, 0);
    canvas.DrawCanvasDMA();
    HAL_Delay(2000);
}

void file_callback(const easy_menu::MenuCell* sender, easy_menu::ClickType type, void* user_data) {
    if (type == easy_menu::ENTER) {
        char gbk_path[256];
        {
            char full_path[256];
            snprintf(full_path, sizeof(full_path), "%s/%s", *static_cast<char**>(user_data), sender->title);
            fs::utf8_to_gbk(full_path, gbk_path, sizeof(gbk_path));
        }
        open_file(gbk_path);
    }
    else {
        shift_callback(sender, user_data);
    }
}

void shift_callback(const easy_menu::MenuCell* sender, void* user_data) {
    ST7735_FillScreenFast(ST7735_BLACK);
    WriteUnicodeStringUTF8DMA(0, 0, "暂不支持此功能", &global_font, ST7735_GREEN, ST7735_BLACK);
    while (!input.break_out and !return_home);
    input.break_out = false;
}

void open_file(const char* gbk_path) {
    ST7735_FillScreenFast(ST7735_BLACK);
    if (fs::suffix_matches(gbk_path, ".avi")) {
        VideoPlayer player(gbk_path);
        VideoInfo info;
        player.GetInfo(&info);
        player.Play((160 - info.width) / 2, (128 - info.height) / 2, VIDEO_PLAY_MODE_POLLING);
        bool paused = false;
        while (player.GetState() == VIDEO_STATE_PLAYING) {
            if (input.enter) {
                input.enter = false;
                paused = !paused;
                if (!paused) player.ResetTime();
            }
            if (!paused) {
                bool playing = player.Poll();
                if (!playing or input.break_out or return_home) {
                    input.break_out = false;
                    break;
                }
            }
            else {
                if (input.break_out or return_home) {
                    input.break_out = false;
                    break;
                }
            }
        }
        return;
    }
    else if (fs::suffix_matches(gbk_path, ".bmp") || fs::suffix_matches(gbk_path, ".jpg") || fs::suffix_matches(
        gbk_path, ".raw")) {
        PIC_DisplayStreamingDMA(gbk_path, 0, 0, 0, 0, 0, 0);
    }
    else {
        WriteUnicodeStringUTF8DMA(0, 0, "暂不支持此格式", &global_font, ST7735_GREEN, ST7735_BLACK);
    }
    while (!input.break_out and !return_home);
    input.break_out = false;
}

void file_manager(const char* current_path, uint32_t start_index) {
    struct PublicData {
        bool is_dir[20] = {false};
        const char* path = nullptr;
        const char* current = nullptr;
    };
    struct Data {
        PublicData& data;
        int index = 0;
    };
    A:
    PublicData data;
    bool next_page = false;
    data.current = current_path;
    char* path = nullptr;
    {
        char names[20][256];
        int len = -1;
        {
            auto iter = fs::listdir(current_path).begin() + start_index;
            for (int i = 0; i < 20; i++) {
                if (iter != fs::DirectoryRange::end()) {
                    strcpy(names[i], (*iter).name);
                    data.is_dir[i] = (*iter).type == fs::ObjectType::dir;
                }
                else {
                    len = i;
                    break;
                }
                ++iter;
            }
        }
        bool end = len != -1;
        if (!end) len = 20;
        easy_menu::StaticMenu menu(len, current_path, 0, 0, 160, 128);
        for (int i = 0; i < len; i++) {
            auto temp = new Data({data, i});
            menu.add_menu(names[i], [](const easy_menu::MenuCell* sender, easy_menu::ClickType type, void* user_data) {
                auto data = static_cast<Data*>(user_data);
                if (data->data.is_dir[data->index]) {
                    data->data.path = sender->title;
                    input.break_out = true;
                }
                else {
                    file_callback(sender, type, &data->data.current);
                }
            }, temp);
        }
        if (!end) {
            menu.add_menu("加载下一页", [](const easy_menu::MenuCell* sender, easy_menu::ClickType type, void* user_data) {
                *static_cast<bool*>(user_data) = true;
                input.break_out = true;
            }, &next_page);
        }
        easy_menu::MenuState state;
        while (easy_menu::flush_menu(menu, input, render, state) and not return_home);
        printf("1");
        if (data.path) {
            path = new char[256];
            snprintf(path, 256 * sizeof(char), "%s/%s", current_path, data.path);
        }
    }
    if (path) {
        if (!return_home) file_manager(path);
        delete[] path;
        if (!return_home) goto A;
    }
    if (next_page) {
        file_manager(current_path, start_index + 20);
    }
    redraw = true;
}
/* USER CODE END 4 */

void Error_Handler() {
    /* USER CODE BEGIN Error_Handler_Debug */
    /* User can add his own implementation to report the HAL error return state */
    __disable_irq();
    printf("Error Handler called!\r\n");
    while (true) {
        HAL_GPIO_TogglePin(GPIOA, GPIO_PIN_5);
        HAL_Delay(100);
    }
    /* USER CODE END Error_Handler_Debug */
}
